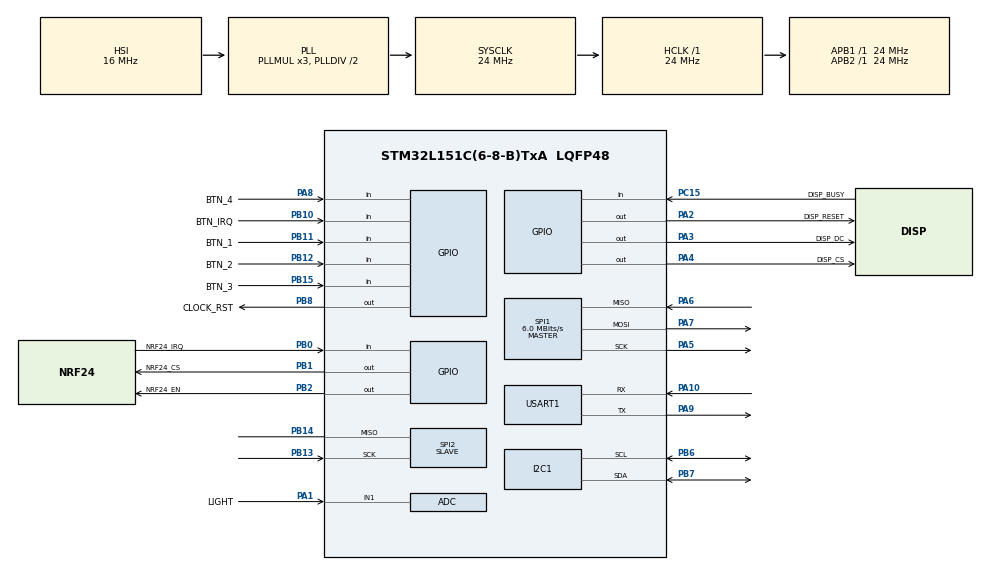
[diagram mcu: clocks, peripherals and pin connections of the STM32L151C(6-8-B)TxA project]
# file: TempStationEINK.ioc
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ADC.Channel-0\#ChannelRegularConversion=ADC_CHANNEL_1
ADC.NbrOfConversionFlag=1
ADC.Rank-0\#ChannelRegularConversion=1
ADC.SamplingTime-0\#ChannelRegularConversion=ADC_SAMPLETIME_4CYCLES
Mcu.Family=STM32L1
Mcu.Name=STM32L151C(6-8-B)TxA
Mcu.Package=LQFP48
NVIC.ADC1_IRQn=true\:0\:0\:false\:false\:true\:true\:true\:true
NVIC.PriorityGroup=NVIC_PRIORITYGROUP_4
PA0-WKUP1.GPIO_Label=CLOCK_INT
PA0-WKUP1.Mode=SYS_WakeUp0
PA0-WKUP1.Signal=SYS_WKUP1
PA1.GPIO_Label=LIGHT
PA1.Mode=IN1
PA1.Signal=ADC_IN1
PA10.Mode=Asynchronous
PA10.Signal=USART1_RX
PA13.Mode=Serial_Wire
PA13.Signal=SYS_JTMS-SWDIO
PA14.Mode=Serial_Wire
PA14.Signal=SYS_JTCK-SWCLK
PA2.GPIO_Label=DISP_RESET
PA2.GPIO_Speed=GPIO_SPEED_FREQ_VERY_HIGH
PA2.Signal=GPIO_Output
PA3.GPIO_Label=DISP_DC
PA3.GPIO_PuPd=GPIO_PULLUP
PA3.GPIO_Speed=GPIO_SPEED_FREQ_VERY_HIGH
PA3.Signal=GPIO_Output
PA4.GPIO_Label=DISP_CS
PA4.GPIO_Speed=GPIO_SPEED_FREQ_VERY_HIGH
PA4.PinState=GPIO_PIN_RESET
PA4.Signal=GPIO_Output
PA5.Mode=Full_Duplex_Master
PA5.Signal=SPI1_SCK
PA6.Mode=Full_Duplex_Master
PA6.Signal=SPI1_MISO
PA7.Mode=Full_Duplex_Master
PA7.Signal=SPI1_MOSI
PA8.GPIO_Label=BTN_4
PA8.Signal=GPIO_Input
PA9.Mode=Asynchronous
PA9.Signal=USART1_TX
PB0.GPIO_Label=NRF24_IRQ
PB0.Signal=GPIO_Input
PB1.GPIO_Label=NRF24_CS
PB1.PinState=GPIO_PIN_SET
PB1.Signal=GPIO_Output
PB10.GPIO_Label=BTN_IRQ
PB10.Signal=GPIO_Input
PB11.GPIO_Label=BTN_1
PB11.Signal=GPIO_Input
PB12.GPIO_Label=BTN_2
PB12.Signal=GPIO_Input
PB13.Mode=Simplex_Bidirectional_Slave
PB13.Signal=SPI2_SCK
PB14.Mode=Simplex_Bidirectional_Slave
PB14.Signal=SPI2_MISO
PB15.GPIO_Label=BTN_3
PB15.Signal=GPIO_Input
PB2.GPIO_Label=NRF24_EN
PB2.PinState=GPIO_PIN_SET
PB2.Signal=GPIO_Output
PB6.GPIO_Pu=GPIO_PULLUP
PB6.Mode=I2C
PB6.Signal=I2C1_SCL
PB7.GPIO_Pu=GPIO_PULLUP
PB7.Mode=I2C
PB7.Signal=I2C1_SDA
PB8.GPIO_Label=CLOCK_RST
PB8.Signal=GPIO_Output
PC15-OSC32_OUT.GPIO_Label=DISP_BUSY
PC15-OSC32_OUT.GPIO_PuPd=GPIO_PULLUP
PC15-OSC32_OUT.Signal=GPIO_Input
ProjectManager.HeapSize=0x200
ProjectManager.StackSize=0x400
ProjectManager.TargetToolchain=STM32CubeIDE
RCC.AHBFreq_Value=24000000
RCC.APB1Freq_Value=24000000
RCC.APB1TimFreq_Value=24000000
RCC.APB2Freq_Value=24000000
RCC.APB2TimFreq_Value=24000000
RCC.HCLKFreq_Value=24000000
RCC.HSE_VALUE=24000000
RCC.HSI_VALUE=16000000
RCC.LSE_VALUE=32768
RCC.MSI_VALUE=2097000
RCC.SYSCLKFreq_VALUE=24000000
RCC.SYSCLKSource=RCC_SYSCLKSOURCE_PLLCLK
RCC.VCOOutputFreq_Value=48000000
SPI1.BaudRatePrescaler=SPI_BAUDRATEPRESCALER_4
SPI1.CalculateBaudRate=6.0 MBits/s
SPI1.Direction=SPI_DIRECTION_2LINES
SPI1.Mode=SPI_MODE_MASTER
SPI1.VirtualType=VM_MASTER
SPI2.Direction=SPI_DIRECTION_1LINE
SPI2.Mode=SPI_MODE_SLAVE
SPI2.VirtualType=VM_SLAVE
USART1.VirtualMode=VM_ASYNC
board=custom

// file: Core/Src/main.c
/* USER CODE BEGIN Header */
/**
 ******************************************************************************
 * @file           : main.c
 * @brief          : Main program body
 ******************************************************************************
 * @attention
 *
 * Copyright (c) 2023 STMicroelectronics.
 * All rights reserved.
 *
 * This software is licensed under terms that can be found in the LICENSE file
 * in the root directory of this software component.
 * If no LICENSE file comes with this software, it is provided AS-IS.
 *
 ******************************************************************************
 */
/* USER CODE END Header */
#include "main.h"

/* USER CODE BEGIN Includes */
#include "epaper.h"
#include "ds3231.h"
/* USER CODE END Includes */

ADC_HandleTypeDef hadc;

I2C_HandleTypeDef hi2c1;

SPI_HandleTypeDef hspi1;
SPI_HandleTypeDef hspi2;

UART_HandleTypeDef huart1;

/* USER CODE BEGIN PV */
uint8_t image_bw[EPD_W_BUFF_SIZE * EPD_H];

/* USER CODE END PV */

void SystemClock_Config(void);
static void MX_GPIO_Init(void);
static void MX_I2C1_Init(void);
static void MX_SPI1_Init(void);
static void MX_USART1_UART_Init(void);
static void MX_SPI2_Init(void);
static void MX_ADC_Init(void);
/* USER CODE BEGIN PFP */
void delay_ms(uint32_t period_ms);
int8_t i2c_reg_write(uint8_t i2c_addr, uint8_t reg_addr, uint8_t *reg_data,
		uint16_t length);
int8_t i2c_reg_read(uint8_t i2c_addr, uint8_t reg_addr, uint8_t *reg_data,
		uint16_t length);
void print_rslt(const char api_name[], int8_t rslt);
/* USER CODE END PFP */

int main(void) {
	/* USER CODE BEGIN 1 */
	/* Define display pins and interface */
	epd_pins.busy_port = DISP_BUSY_GPIO_Port;
	epd_pins.busy_pin = DISP_BUSY_Pin;
	epd_pins.cs_port = DISP_CS_GPIO_Port;
	epd_pins.cs_pin = DISP_CS_Pin;
	epd_pins.dc_port = DISP_DC_GPIO_Port;
	epd_pins.dc_pin = DISP_DC_Pin;
	epd_pins.res_port = DISP_RESET_GPIO_Port;
	epd_pins.res_pin = DISP_RESET_Pin;
	epd_pins.hspi = &hspi1;

	/* USER CODE END 1 */

	/* MCU Configuration--------------------------------------------------------*/

	/* Reset of all peripherals, Initializes the Flash interface and the Systick. */
	HAL_Init();

	/* Configure the system clock */
	SystemClock_Config();

	/* Initialize all configured peripherals */
	MX_GPIO_Init();
	MX_I2C1_Init();
	MX_SPI1_Init();
	MX_USART1_UART_Init();
	MX_SPI2_Init();
	MX_ADC_Init();

	/* Infinite loop */
	/* USER CODE BEGIN WHILE */
	uint16_t posXStr = (EPD_H / 2) - (24 * 8 / 2);
	uint16_t posYStr = (EPD_W / 2) - 12;
	unsigned char hour = 9, minute = 0, second = 0;
	char timeStr[9] = { 0 };
	setHour(hour);
	setMinute(minute);
	setSecond(second);
	timeToStr(timeStr, hour, minute, second);
	epd_init();
	epd_paint_newimage(image_bw, EPD_W, EPD_H, EPD_ROTATE_180, EPD_COLOR_WHITE);
	epd_paint_selectimage(image_bw);
	epd_paint_selectimage(image_bw);
	epd_paint_clear(EPD_COLOR_WHITE);
	epd_paint_showString(posXStr, posYStr, (uint8_t*) timeStr, EPD_FONT_SIZE24x12, EPD_COLOR_BLACK);
	epd_display(image_bw, 0);

	const uint32_t interval = 10000;
	uint32_t ptime = 0;
	uint32_t ntime = 0;

	epd_init_partial();

	while (1) {
		ntime = HAL_GetTick();
		if((ntime - ptime) > interval) {
			ptime = ntime;
			hour = getHour();
			minute = getMinute();
			second = getSecond();
			timeToStr(timeStr, hour, minute, second);
			epd_paint_selectimage(image_bw);
			epd_paint_clear(EPD_COLOR_WHITE);
			epd_paint_showString(posXStr, posYStr, (uint8_t*) timeStr, EPD_FONT_SIZE24x12, EPD_COLOR_BLACK);
			epd_display(image_bw, 1);
		}

		/* USER CODE END WHILE */

	}
}

void SystemClock_Config(void) {
	RCC_OscInitTypeDef RCC_OscInitStruct = { 0 };
	RCC_ClkInitTypeDef RCC_ClkInitStruct = { 0 };

	/** Configure the main internal regulator output voltage
	 */
	__HAL_PWR_VOLTAGESCALING_CONFIG(PWR_REGULATOR_VOLTAGE_SCALE1);

	/** Initializes the RCC Oscillators according to the specified parameters
	 * in the RCC_OscInitTypeDef structure.
	 */
	RCC_OscInitStruct.OscillatorType = RCC_OSCILLATORTYPE_HSI;
	RCC_OscInitStruct.HSIState = RCC_HSI_ON;
	RCC_OscInitStruct.HSICalibrationValue = RCC_HSICALIBRATION_DEFAULT;
	RCC_OscInitStruct.PLL.PLLState = RCC_PLL_ON;
	RCC_OscInitStruct.PLL.PLLSource = RCC_PLLSOURCE_HSI;
	RCC_OscInitStruct.PLL.PLLMUL = RCC_PLL_MUL3;
	RCC_OscInitStruct.PLL.PLLDIV = RCC_PLL_DIV2;
	if (HAL_RCC_OscConfig(&RCC_OscInitStruct) != HAL_OK) {
		Error_Handler();
	}

	/** Initializes the CPU, AHB and APB buses clocks
	 */
	RCC_ClkInitStruct.ClockType = RCC_CLOCKTYPE_HCLK | RCC_CLOCKTYPE_SYSCLK
			| RCC_CLOCKTYPE_PCLK1 | RCC_CLOCKTYPE_PCLK2;
	RCC_ClkInitStruct.SYSCLKSource = RCC_SYSCLKSOURCE_PLLCLK;
	RCC_ClkInitStruct.AHBCLKDivider = RCC_SYSCLK_DIV1;
	RCC_ClkInitStruct.APB1CLKDivider = RCC_HCLK_DIV1;
	RCC_ClkInitStruct.APB2CLKDivider = RCC_HCLK_DIV1;

	if (HAL_RCC_ClockConfig(&RCC_ClkInitStruct, FLASH_LATENCY_1) != HAL_OK) {
		Error_Handler();
	}
}

static void MX_ADC_Init(void) {

	ADC_ChannelConfTypeDef sConfig = { 0 };

	/** Configure the global features of the ADC (Clock, Resolution, Data Alignment and number of conversion)
	 */
	hadc.Instance = ADC1;
	hadc.Init.ClockPrescaler = ADC_CLOCK_ASYNC_DIV1;
	hadc.Init.Resolution = ADC_RESOLUTION_12B;
	hadc.Init.DataAlign = ADC_DATAALIGN_RIGHT;
	hadc.Init.ScanConvMode = ADC_SCAN_DISABLE;
	hadc.Init.EOCSelection = ADC_EOC_SEQ_CONV;
	hadc.Init.LowPowerAutoWait = ADC_AUTOWAIT_DISABLE;
	hadc.Init.LowPowerAutoPowerOff = ADC_AUTOPOWEROFF_DISABLE;
	hadc.Init.ChannelsBank = ADC_CHANNELS_BANK_A;
	hadc.Init.ContinuousConvMode = DISABLE;
	hadc.Init.NbrOfConversion = 1;
	hadc.Init.DiscontinuousConvMode = DISABLE;
	hadc.Init.ExternalTrigConv = ADC_SOFTWARE_START;
	hadc.Init.ExternalTrigConvEdge = ADC_EXTERNALTRIGCONVEDGE_NONE;
	hadc.Init.DMAContinuousRequests = DISABLE;
	if (HAL_ADC_Init(&hadc) != HAL_OK) {
		Error_Handler();
	}

	/** Configure for the selected ADC regular channel its corresponding rank in the sequencer and its sample time.
	 */
	sConfig.Channel = ADC_CHANNEL_1;
	sConfig.Rank = ADC_REGULAR_RANK_1;
	sConfig.SamplingTime = ADC_SAMPLETIME_4CYCLES;
	if (HAL_ADC_ConfigChannel(&hadc, &sConfig) != HAL_OK) {
		Error_Handler();
	}

}

static void MX_I2C1_Init(void) {

	hi2c1.Instance = I2C1;
	hi2c1.Init.ClockSpeed = 100000;
	hi2c1.Init.DutyCycle = I2C_DUTYCYCLE_2;
	hi2c1.Init.OwnAddress1 = 0;
	hi2c1.Init.AddressingMode = I2C_ADDRESSINGMODE_7BIT;
	hi2c1.Init.DualAddressMode = I2C_DUALADDRESS_DISABLE;
	hi2c1.Init.OwnAddress2 = 0;
	hi2c1.Init.GeneralCallMode = I2C_GENERALCALL_DISABLE;
	hi2c1.Init.NoStretchMode = I2C_NOSTRETCH_DISABLE;
	if (HAL_I2C_Init(&hi2c1) != HAL_OK) {
		Error_Handler();
	}

}

static void MX_SPI1_Init(void) {

	/* SPI1 parameter configuration*/
	hspi1.Instance = SPI1;
	hspi1.Init.Mode = SPI_MODE_MASTER;
	hspi1.Init.Direction = SPI_DIRECTION_2LINES;
	hspi1.Init.DataSize = SPI_DATASIZE_8BIT;
	hspi1.Init.CLKPolarity = SPI_POLARITY_LOW;
	hspi1.Init.CLKPhase = SPI_PHASE_1EDGE;
	hspi1.Init.NSS = SPI_NSS_SOFT;
	hspi1.Init.BaudRatePrescaler = SPI_BAUDRATEPRESCALER_4;
	hspi1.Init.FirstBit = SPI_FIRSTBIT_MSB;
	hspi1.Init.TIMode = SPI_TIMODE_DISABLE;
	hspi1.Init.CRCCalculation = SPI_CRCCALCULATION_DISABLE;
	hspi1.Init.CRCPolynomial = 10;
	if (HAL_SPI_Init(&hspi1) != HAL_OK) {
		Error_Handler();
	}

}

static void MX_SPI2_Init(void) {

	/* SPI2 parameter configuration*/
	hspi2.Instance = SPI2;
	hspi2.Init.Mode = SPI_MODE_SLAVE;
	hspi2.Init.Direction = SPI_DIRECTION_1LINE;
	hspi2.Init.DataSize = SPI_DATASIZE_8BIT;
	hspi2.Init.CLKPolarity = SPI_POLARITY_LOW;
	hspi2.Init.CLKPhase = SPI_PHASE_1EDGE;
	hspi2.Init.NSS = SPI_NSS_SOFT;
	hspi2.Init.FirstBit = SPI_FIRSTBIT_MSB;
	hspi2.Init.TIMode = SPI_TIMODE_DISABLE;
	hspi2.Init.CRCCalculation = SPI_CRCCALCULATION_DISABLE;
	hspi2.Init.CRCPolynomial = 10;
	if (HAL_SPI_Init(&hspi2) != HAL_OK) {
		Error_Handler();
	}

}

static void MX_USART1_UART_Init(void) {

	huart1.Instance = USART1;
	huart1.Init.BaudRate = 115200;
	huart1.Init.WordLength = UART_WORDLENGTH_8B;
	huart1.Init.StopBits = UART_STOPBITS_1;
	huart1.Init.Parity = UART_PARITY_NONE;
	huart1.Init.Mode = UART_MODE_TX_RX;
	huart1.Init.HwFlowCtl = UART_HWCONTROL_NONE;
	huart1.Init.OverSampling = UART_OVERSAMPLING_16;
	if (HAL_UART_Init(&huart1) != HAL_OK) {
		Error_Handler();
	}

}

static void MX_GPIO_Init(void) {
	GPIO_InitTypeDef GPIO_InitStruct = { 0 };

	/* GPIO Ports Clock Enable */
	__HAL_RCC_GPIOC_CLK_ENABLE();
	__HAL_RCC_GPIOA_CLK_ENABLE();
	__HAL_RCC_GPIOB_CLK_ENABLE();

	/*Configure GPIO pin Output Level */
	HAL_GPIO_WritePin(GPIOA, DISP_RESET_Pin | DISP_DC_Pin | DISP_CS_Pin,
			GPIO_PIN_RESET);

	/*Configure GPIO pin Output Level */
	HAL_GPIO_WritePin(GPIOB, NRF24_CS_Pin | NRF24_EN_Pin, GPIO_PIN_SET);

	/*Configure GPIO pin Output Level */
	HAL_GPIO_WritePin(CLOCK_RST_GPIO_Port, CLOCK_RST_Pin, GPIO_PIN_RESET);

	/*Configure GPIO pin : DISP_BUSY_Pin */
	GPIO_InitStruct.Pin = DISP_BUSY_Pin;
	GPIO_InitStruct.Mode = GPIO_MODE_INPUT;
	GPIO_InitStruct.Pull = GPIO_PULLUP;
	HAL_GPIO_Init(DISP_BUSY_GPIO_Port, &GPIO_InitStruct);

	/*Configure GPIO pins : DISP_RESET_Pin DISP_CS_Pin */
	GPIO_InitStruct.Pin = DISP_RESET_Pin | DISP_CS_Pin;
	GPIO_InitStruct.Mode = GPIO_MODE_OUTPUT_PP;
	GPIO_InitStruct.Pull = GPIO_NOPULL;
	GPIO_InitStruct.Speed = GPIO_SPEED_FREQ_VERY_HIGH;
	HAL_GPIO_Init(GPIOA, &GPIO_InitStruct);

	/*Configure GPIO pin : DISP_DC_Pin */
	GPIO_InitStruct.Pin = DISP_DC_Pin;
	GPIO_InitStruct.Mode = GPIO_MODE_OUTPUT_PP;
	GPIO_InitStruct.Pull = GPIO_PULLUP;
	GPIO_InitStruct.Speed = GPIO_SPEED_FREQ_VERY_HIGH;
	HAL_GPIO_Init(DISP_DC_GPIO_Port, &GPIO_InitStruct);

	/*Configure GPIO pins : NRF24_IRQ_Pin BTN_IRQ_Pin BTN_1_Pin BTN_2_Pin
	 BTN_3_Pin */
	GPIO_InitStruct.Pin = NRF24_IRQ_Pin | BTN_IRQ_Pin | BTN_1_Pin | BTN_2_Pin
			| BTN_3_Pin;
	GPIO_InitStruct.Mode = GPIO_MODE_INPUT;
	GPIO_InitStruct.Pull = GPIO_NOPULL;
	HAL_GPIO_Init(GPIOB, &GPIO_InitStruct);

	/*Configure GPIO pins : NRF24_CS_Pin NRF24_EN_Pin CLOCK_RST_Pin */
	GPIO_InitStruct.Pin = NRF24_CS_Pin | NRF24_EN_Pin | CLOCK_RST_Pin;
	GPIO_InitStruct.Mode = GPIO_MODE_OUTPUT_PP;
	GPIO_InitStruct.Pull = GPIO_NOPULL;
	GPIO_InitStruct.Speed = GPIO_SPEED_FREQ_LOW;
	HAL_GPIO_Init(GPIOB, &GPIO_InitStruct);

	/*Configure GPIO pin : BTN_4_Pin */
	GPIO_InitStruct.Pin = BTN_4_Pin;
	GPIO_InitStruct.Mode = GPIO_MODE_INPUT;
	GPIO_InitStruct.Pull = GPIO_NOPULL;
	HAL_GPIO_Init(BTN_4_GPIO_Port, &GPIO_InitStruct);

}

void Error_Handler(void) {
	__disable_irq();
	while (1) {
	}
}
